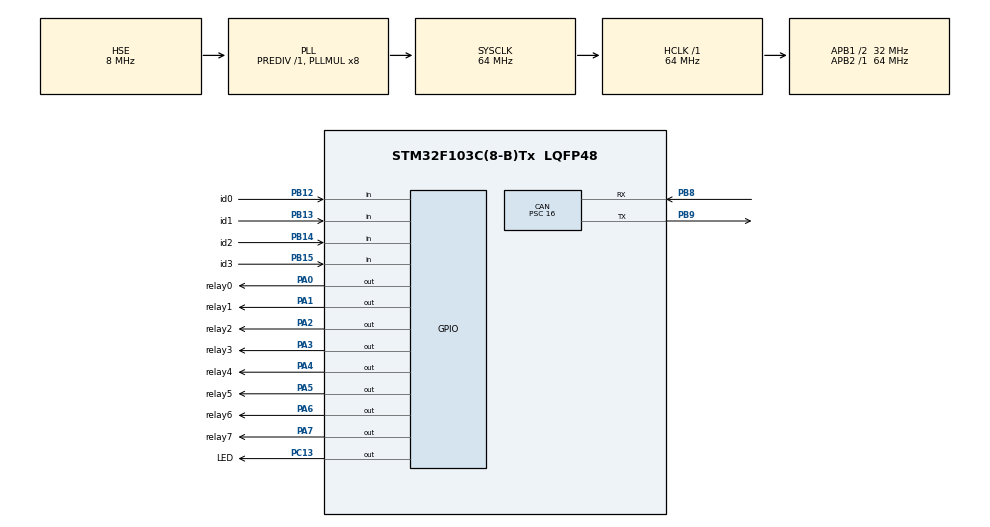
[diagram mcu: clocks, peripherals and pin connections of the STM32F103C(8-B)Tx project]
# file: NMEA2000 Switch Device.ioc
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CAN.BS1=CAN_BS1_5TQ
CAN.BS2=CAN_BS2_2TQ
CAN.CalculateBaudRate=250000
CAN.CalculateTimeBit=4000
CAN.CalculateTimeQuantum=500.0
CAN.Prescaler=16
Mcu.Family=STM32F1
Mcu.Name=STM32F103C(8-B)Tx
Mcu.Package=LQFP48
NVIC.CAN1_RX1_IRQn=true\:0\:0\:false\:false\:true\:true\:true\:true
NVIC.CAN1_SCE_IRQn=true\:0\:0\:false\:false\:true\:true\:true\:true
NVIC.PriorityGroup=NVIC_PRIORITYGROUP_4
NVIC.TIM3_IRQn=true\:0\:0\:false\:false\:true\:true\:true\:true
NVIC.USB_HP_CAN1_TX_IRQn=true\:0\:0\:false\:false\:true\:true\:true\:true
NVIC.USB_LP_CAN1_RX0_IRQn=true\:0\:0\:false\:false\:true\:true\:true\:true
PA0-WKUP.GPIO_Label=relay0
PA0-WKUP.GPIO_Speed=GPIO_SPEED_FREQ_HIGH
PA0-WKUP.Signal=GPIO_Output
PA1.GPIO_Label=relay1
PA1.GPIO_Speed=GPIO_SPEED_FREQ_HIGH
PA1.Signal=GPIO_Output
PA13.Mode=Serial_Wire
PA13.Signal=SYS_JTMS-SWDIO
PA14.Mode=Serial_Wire
PA14.Signal=SYS_JTCK-SWCLK
PA2.GPIO_Label=relay2
PA2.GPIO_Speed=GPIO_SPEED_FREQ_HIGH
PA2.Signal=GPIO_Output
PA3.GPIO_Label=relay3
PA3.GPIO_Speed=GPIO_SPEED_FREQ_HIGH
PA3.Signal=GPIO_Output
PA4.GPIO_Label=relay4
PA4.GPIO_Speed=GPIO_SPEED_FREQ_HIGH
PA4.Signal=GPIO_Output
PA5.GPIO_Label=relay5
PA5.GPIO_Speed=GPIO_SPEED_FREQ_HIGH
PA5.Signal=GPIO_Output
PA6.GPIO_Label=relay6
PA6.GPIO_Speed=GPIO_SPEED_FREQ_HIGH
PA6.Signal=GPIO_Output
PA7.GPIO_Label=relay7
PA7.GPIO_Speed=GPIO_SPEED_FREQ_HIGH
PA7.Signal=GPIO_Output
PB12.GPIO_Label=id0
PB12.GPIO_PuPd=GPIO_PULLDOWN
PB12.Signal=GPIO_Input
PB13.GPIO_Label=id1
PB13.GPIO_PuPd=GPIO_PULLDOWN
PB13.Signal=GPIO_Input
PB14.GPIO_Label=id2
PB14.GPIO_PuPd=GPIO_PULLDOWN
PB14.Signal=GPIO_Input
PB15.GPIO_Label=id3
PB15.GPIO_PuPd=GPIO_PULLDOWN
PB15.Signal=GPIO_Input
PB8.GPIO_PuPd=GPIO_PULLUP
PB8.Mode=CAN_Activate
PB8.Signal=CAN_RX
PB9.Mode=CAN_Activate
PB9.Signal=CAN_TX
PC13-TAMPER-RTC.GPIO_Label=LED
PC13-TAMPER-RTC.GPIO_ModeDefaultOutputPP=GPIO_MODE_OUTPUT_OD
PC13-TAMPER-RTC.GPIO_PuPd=GPIO_NOPULL
PC13-TAMPER-RTC.GPIO_Speed=GPIO_SPEED_FREQ_HIGH
PC13-TAMPER-RTC.Signal=GPIO_Output
PD0-OSC_IN.Mode=HSE-External-Oscillator
PD0-OSC_IN.Signal=RCC_OSC_IN
PD1-OSC_OUT.Mode=HSE-External-Oscillator
PD1-OSC_OUT.Signal=RCC_OSC_OUT
ProjectManager.HeapSize=0x200
ProjectManager.StackSize=0x400
ProjectManager.TargetToolchain=STM32CubeIDE
RCC.AHBFreq_Value=64000000
RCC.APB1CLKDivider=RCC_HCLK_DIV2
RCC.APB1Freq_Value=32000000
RCC.APB1TimFreq_Value=64000000
RCC.APB2Freq_Value=64000000
RCC.APB2TimFreq_Value=64000000
RCC.HCLKFreq_Value=64000000
RCC.PLLMUL=RCC_PLL_MUL8
RCC.PLLSourceVirtual=RCC_PLLSOURCE_HSE
RCC.SYSCLKFreq_VALUE=64000000
RCC.SYSCLKSource=RCC_SYSCLKSOURCE_PLLCLK
RCC.TimSys_Div=SYSTICK_CLKSOURCE_HCLK_DIV8
RCC.USBFreq_Value=64000000
TIM3.AutoReloadPreload=TIM_AUTORELOAD_PRELOAD_DISABLE
TIM3.CounterMode=TIM_COUNTERMODE_UP
TIM3.Period=9999
TIM3.Prescaler=6399
VP_TIM3_VS_ClockSourceINT.Mode=Internal
board=custom

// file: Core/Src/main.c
/* USER CODE BEGIN Header */
/**
  ******************************************************************************
  * @file           : main.c
  * @brief          : Main program body
  ******************************************************************************
  * NMEA2000 Relay Board Controller
  *
  * (CC) 2025 by G.J.Kruizinga
  *
  * @attention
  *
  * Copyright (c) 2025 STMicroelectronics.
  * All rights reserved.
  *
  * This software is licensed under terms that can be found in the LICENSE file
  * in the root directory of this software component.
  * If no LICENSE file comes with this software, it is provided AS-IS.
  *
  ******************************************************************************
  */
/* USER CODE END Header */
#include "main.h"

/* USER CODE BEGIN Includes */

#include <stdio.h>
/* USER CODE END Includes */

/* USER CODE BEGIN PTD */
// Bring relay port definitions to an array structure
struct RELAY_T {
	GPIO_TypeDef	*gpio;
	uint16_t		pin;
};

// NMEA2K network operational NAME parameters
struct NMEA2K_NETWORK_T {
	uint8_t			senderId;
	uint8_t			linkState;
	uint16_t		heartbeatTime;
	uint8_t			*nameData;
	uint8_t			linkRetries;
	uint16_t		statusTime;
};

struct ISO_TRANSPORT_MESSAGE_T {
	uint8_t			senderId;
	uint8_t			isoCommand;
	uint8_t			packetsExpected;
	uint8_t			packetsReceived;
	uint16_t		messageSize;
	uint32_t		pgn;
	uint8_t			*data;
	struct ISO_TRANSPORT_MESSAGE_T *prev;
	struct ISO_TRANSPORT_MESSAGE_T *next;
};

struct CAN_MSG_T {
	uint32_t		pgn;
	uint8_t			senderId;
	uint8_t			data[8];
};

struct TIMER_T {
	int 			type;
	int				timeout;
	int 			countdown;
	void 			(*callback)(void *);
	void 			*payload;
	struct 			TIMER_T *prev;
	struct 			TIMER_T *next;
};

// Queue type for jobs to be executed
struct JOB_QUEUE_T {
	void 			(*callback)(void *);
	void 			*payload;
	struct JOB_QUEUE_T	*next;
};

/* USER CODE END PTD */

/* USER CODE BEGIN PD */

#define NMEA2000_VERSION	3000	/* NMEA2000 Version 3.000 */

#define N2K_PRIO			3		/* Priority of the messages on the network */
#define N2K_ID				128		/* Initial NMEA2K sender id */
#define RELAY_BOARD_ID		128		/* Switch bank id (0-255), Only top 4 bits count, lower 4 are set with switches */
#define RELAY_CHANNELS		8		/* Number of relays on this board */

// Initial ISO NAME parameters
#define MFG_CODE			2046	/* Manufacturer code (0-2047) 2046 for homemade */
#define DEV_INST			0		/* Device instance */
#define DEV_FUNCT			130		/* Binary Event Monitor */
#define DEV_CLASS			30		/* Electrical Distribution */
#define SYS_INST			0		/* System instance */
#define IND_GROUP			4		/* Industry group = 4 (Marine Industry) */
#define ARB_ADDRESS			1		/* Arbitrary address capable */
#define ISO_MAX_RETRIES		8		/* Maximum number of address claim retries */
#define ISO_HEARTBEAT		2000	/* Heartbeat default interval = 20 sec (2000 * 10ms) */
#define STATUS_TIMER		200		/* Switch status default interval = 2 sec (200 * 10ms) */

// NMEA2K Link States
#define LINK_STATE_IDLE		0
#define LINK_STATE_CLAIMED	1
#define LINK_STATE_ACTIVE	2
#define LINK_STATE_ABORT	99

#define TIMER_ONESHOT		1
#define TIMER_RELOAD		2

#define MODEL_ID			"GJK NMEA2000 Relay Controller"
#define SOFTWARE_VERSION	"V 1.0"
#define HARDWARE_VERSION	"V 1.0"

/* USER CODE END PD */

CAN_HandleTypeDef hcan;

TIM_HandleTypeDef htim3;

/* USER CODE BEGIN PV */
volatile uint16_t relayStatus;
uint8_t relayId;
struct RELAY_T relays[RELAY_CHANNELS] = {
		{relay0_GPIO_Port, relay0_Pin},
		{relay1_GPIO_Port, relay1_Pin},
		{relay2_GPIO_Port, relay2_Pin},
		{relay3_GPIO_Port, relay3_Pin},
		{relay4_GPIO_Port, relay4_Pin},
		{relay5_GPIO_Port, relay5_Pin},
		{relay6_GPIO_Port, relay6_Pin},
		{relay7_GPIO_Port, relay7_Pin}
};
struct NMEA2K_NETWORK_T nmea2kNetwork;
struct TIMER_T *timers = NULL, *statusTimer;
struct JOB_QUEUE_T *jobs = NULL;

// List of transmitted and received PGN's capable by this device
uint32_t txList[] = {59392, 60928, 126996, 126998, 127501, 126993, 126464, 0};
uint32_t rxList[] = {59904, 60928, 60160, 60416, 65240, 127502, 0};
uint32_t * pgnList[] = {txList, rxList};

// Static strings for PGN 126996 and 126998
char productInformation[128];
char manufacturerInformation[] = "(CC) 2025 by G.J.Kruizinga - gjk4all(at)gmail(dot)com";

/* USER CODE END PV */

void SystemClock_Config(void);
static void MX_GPIO_Init(void);
static void MX_CAN_Init(void);
static void MX_TIM3_Init(void);
/* USER CODE BEGIN PFP */
void Send_ISOAddressClaim(void);
void Send_ISOAcknowledgement(uint8_t dest, uint8_t control, uint8_t group, uint32_t pgn);
void Send_HeartBeat(void * payload);
void Send_Status(void * payload);
void Send_ProductInformation(void * payload);
void Send_ConfigurationInformation(void * payload);
void Send_PGNList(void * payload);
int Send_FFMessage(CAN_TxHeaderTypeDef *TxHeader, uint8_t *data, int seqNo, int len);
void Handle_ISOTransportMessages(void *payload);
void Handle_ISOCommandedAddress(uint8_t *data);
int Compare_NameWeight(uint8_t *data);
void Set_Relays(uint8_t *data);
struct TIMER_T * Add_Timer(int type, int timeout, void(*callback)(), void * payload);
void Delete_Timer(struct TIMER_T *timer);
struct JOB_QUEUE_T * Add_Job(void(*callback)(), void * payload);
void Delete_Job(struct JOB_QUEUE_T *job);
int Get_RelayBoardId(void);
void Error_Handler(void);
/* USER CODE END PFP */

int main(void)
{

	/* USER CODE BEGIN 1 */

	// Clear all relays
	relayStatus = 0;

	// Initialize Product Information record
	for (int i = 0; i < 128; i++)
		productInformation[i] = 0xFF;

	sprintf(productInformation, "%s", MODEL_ID);
	sprintf(productInformation + 32, "%s", SOFTWARE_VERSION);
	sprintf(productInformation + 64, "%s", HARDWARE_VERSION);
	sprintf(productInformation + 96, "%lu", (HAL_GetUIDw0() ^ HAL_GetUIDw1() ^ HAL_GetUIDw2()));

	// Initialise the data array with the ISO NAME info
	uint8_t nameData[8];

	*(uint32_t *)nameData = (MFG_CODE << 21) | ((HAL_GetUIDw0() ^ HAL_GetUIDw1() ^ HAL_GetUIDw2()) & 0x1FFFFF);
	nameData[4] = DEV_INST;
	nameData[5] = DEV_FUNCT;
	nameData[6] = (DEV_CLASS << 1) | 1;
	nameData[7] = ((ARB_ADDRESS == 0)?0:0x80) | ((IND_GROUP << 4) & 0x70) | ((SYS_INST) & 0x0F);

	// Populate initial N2K network structure
	nmea2kNetwork.senderId = N2K_ID;
	nmea2kNetwork.linkState = LINK_STATE_IDLE;
	nmea2kNetwork.heartbeatTime = ISO_HEARTBEAT;
	nmea2kNetwork.nameData = nameData;
	nmea2kNetwork.linkRetries = 0;
	nmea2kNetwork.statusTime = STATUS_TIMER;

  /* USER CODE END 1 */

  /* MCU Configuration--------------------------------------------------------*/

  /* Reset of all peripherals, Initializes the Flash interface and the Systick. */
  HAL_Init();

  /* Configure the system clock */
  SystemClock_Config();

  /* Initialize all configured peripherals */
  MX_GPIO_Init();
  MX_CAN_Init();
  MX_TIM3_Init();
  /* USER CODE BEGIN 2 */

  // Initialize continues timers
  HAL_TIM_Base_Stop_IT(&htim3);

  // Heartbeat timer
  if (Add_Timer(TIMER_RELOAD, nmea2kNetwork.heartbeatTime, &Send_HeartBeat, NULL) == NULL) {
	  Error_Handler();
  }
  // Binary switch status timer
  if ((statusTimer = Add_Timer(TIMER_RELOAD, nmea2kNetwork.statusTime, &Send_Status, NULL)) == NULL) {
	  Error_Handler();
  }

  // Get the relay board channel id
  relayId = Get_RelayBoardId();

  /* USER CODE END 2 */

  /* Infinite loop */
  while (1)
  {

    /* USER CODE BEGIN 3 */
	  // If the NMEA2K link is idle, try to (re)activate it
	  if (nmea2kNetwork.linkState == LINK_STATE_IDLE) {
		  // Stop the seconds timer
		  HAL_TIM_Base_Stop_IT(&htim3);
		  // Check the retry counter against max retries
		  if (nmea2kNetwork.linkRetries > ISO_MAX_RETRIES) {
			  // ERROR, no valid address
			  nmea2kNetwork.linkState = LINK_STATE_ABORT;
			  Error_Handler();
		  }
		  // Try a PGN 60928 - ISO Address Claim
		  Send_ISOAddressClaim();
		  // Set link state to CLAIMED
		  nmea2kNetwork.linkState = LINK_STATE_CLAIMED;
		  // Wait for 250 ms for the claim
		  HAL_Delay(250);
		  // Check if the claim is still valid
		  if (nmea2kNetwork.linkState == LINK_STATE_CLAIMED) {
			  // Claim is valid, activate network
			  nmea2kNetwork.linkState = LINK_STATE_ACTIVE;
			  // Clear the retry counter
			  nmea2kNetwork.linkRetries = 0;
			  // (re)start the seconds timer
			  HAL_TIM_Base_Start_IT(&htim3);
		  }
	  }

		// If the link is up, do the switch polling
		if (nmea2kNetwork.linkState == LINK_STATE_ACTIVE) {
			// Run job queue
			while (jobs != NULL) {
				(jobs->callback)(jobs->payload);
				Delete_Job(jobs);
			}
	  }
  }
  /* USER CODE END 3 */
}

void SystemClock_Config(void)
{
  RCC_OscInitTypeDef RCC_OscInitStruct = {0};
  RCC_ClkInitTypeDef RCC_ClkInitStruct = {0};

  /** Initializes the RCC Oscillators according to the specified parameters
  * in the RCC_OscInitTypeDef structure.
  */
  RCC_OscInitStruct.OscillatorType = RCC_OSCILLATORTYPE_HSE;
  RCC_OscInitStruct.HSEState = RCC_HSE_ON;
  RCC_OscInitStruct.HSEPredivValue = RCC_HSE_PREDIV_DIV1;
  RCC_OscInitStruct.HSIState = RCC_HSI_ON;
  RCC_OscInitStruct.PLL.PLLState = RCC_PLL_ON;
  RCC_OscInitStruct.PLL.PLLSource = RCC_PLLSOURCE_HSE;
  RCC_OscInitStruct.PLL.PLLMUL = RCC_PLL_MUL8;
  if (HAL_RCC_OscConfig(&RCC_OscInitStruct) != HAL_OK)
  {
    Error_Handler();
  }

  /** Initializes the CPU, AHB and APB buses clocks
  */
  RCC_ClkInitStruct.ClockType = RCC_CLOCKTYPE_HCLK|RCC_CLOCKTYPE_SYSCLK
                              |RCC_CLOCKTYPE_PCLK1|RCC_CLOCKTYPE_PCLK2;
  RCC_ClkInitStruct.SYSCLKSource = RCC_SYSCLKSOURCE_PLLCLK;
  RCC_ClkInitStruct.AHBCLKDivider = RCC_SYSCLK_DIV1;
  RCC_ClkInitStruct.APB1CLKDivider = RCC_HCLK_DIV2;
  RCC_ClkInitStruct.APB2CLKDivider = RCC_HCLK_DIV1;

  if (HAL_RCC_ClockConfig(&RCC_ClkInitStruct, FLASH_LATENCY_2) != HAL_OK)
  {
    Error_Handler();
  }
}

static void MX_CAN_Init(void)
{

  /* USER CODE BEGIN CAN_Init 0 */
  CAN_FilterTypeDef   sFilterN2K127502, sFilterN2K060928;

  /* USER CODE END CAN_Init 0 */

  hcan.Instance = CAN1;
  hcan.Init.Prescaler = 16;
  hcan.Init.Mode = CAN_MODE_NORMAL;
  hcan.Init.SyncJumpWidth = CAN_SJW_1TQ;
  hcan.Init.TimeSeg1 = CAN_BS1_5TQ;
  hcan.Init.TimeSeg2 = CAN_BS2_2TQ;
  hcan.Init.TimeTriggeredMode = DISABLE;
  hcan.Init.AutoBusOff = DISABLE;
  hcan.Init.AutoWakeUp = DISABLE;
  hcan.Init.AutoRetransmission = ENABLE;
  hcan.Init.ReceiveFifoLocked = DISABLE;
  hcan.Init.TransmitFifoPriority = DISABLE;
  if (HAL_CAN_Init(&hcan) != HAL_OK)
  {
    Error_Handler();
  }
  /* USER CODE BEGIN CAN_Init 2 */
  // Filter for Switch Bank Control messages
  uint32_t can_id = 127502 << 8;

  sFilterN2K127502.FilterBank = 1;
  sFilterN2K127502.FilterMode = CAN_FILTERMODE_IDMASK;
  sFilterN2K127502.FilterScale = CAN_FILTERSCALE_32BIT;
  sFilterN2K127502.FilterIdHigh = (can_id >> 13) & 0xFFFF;
  sFilterN2K127502.FilterIdLow = ((can_id << 3) & 0xFFF8) | 4;
  sFilterN2K127502.FilterMaskIdHigh = 0x0FFF;
  sFilterN2K127502.FilterMaskIdLow = 0xF804;
  sFilterN2K127502.FilterFIFOAssignment = CAN_FILTER_FIFO1;
  sFilterN2K127502.FilterActivation = CAN_FILTER_ENABLE;

  HAL_CAN_ConfigFilter(&hcan, &sFilterN2K127502);

  // Filter for ISO messages
  can_id = 0x0E800 << 8;

  sFilterN2K060928.FilterBank = 2;
  sFilterN2K060928.FilterMode = CAN_FILTERMODE_IDMASK;
  sFilterN2K060928.FilterScale = CAN_FILTERSCALE_32BIT;
  sFilterN2K060928.FilterIdHigh = (can_id >> 13) & 0xFFFF;
  sFilterN2K060928.FilterIdLow = ((can_id << 3) & 0xFFF8) | 4;
  sFilterN2K060928.FilterMaskIdHigh = 0x0FC0;
  sFilterN2K060928.FilterMaskIdLow = 0x0004;
  sFilterN2K060928.FilterFIFOAssignment = CAN_FILTER_FIFO1;
  sFilterN2K060928.FilterActivation = CAN_FILTER_ENABLE;

  HAL_CAN_ConfigFilter(&hcan, &sFilterN2K060928);

  // Start CAN bus
  HAL_CAN_Start(&hcan);
  // Enable RX interrupts
  if (HAL_CAN_ActivateNotification(&hcan, CAN_IT_RX_FIFO1_MSG_PENDING) != HAL_OK) {
	  Error_Handler();
  }
  /* USER CODE END CAN_Init 2 */

}

static void MX_TIM3_Init(void)
{

  TIM_ClockConfigTypeDef sClockSourceConfig = {0};
  TIM_MasterConfigTypeDef sMasterConfig = {0};

  htim3.Instance = TIM3;
  htim3.Init.Prescaler = 6399;
  htim3.Init.CounterMode = TIM_COUNTERMODE_UP;
  htim3.Init.Period = 99;
  htim3.Init.ClockDivision = TIM_CLOCKDIVISION_DIV1;
  htim3.Init.AutoReloadPreload = TIM_AUTORELOAD_PRELOAD_DISABLE;
  if (HAL_TIM_Base_Init(&htim3) != HAL_OK)
  {
    Error_Handler();
  }
  sClockSourceConfig.ClockSource = TIM_CLOCKSOURCE_INTERNAL;
  if (HAL_TIM_ConfigClockSource(&htim3, &sClockSourceConfig) != HAL_OK)
  {
    Error_Handler();
  }
  sMasterConfig.MasterOutputTrigger = TIM_TRGO_RESET;
  sMasterConfig.MasterSlaveMode = TIM_MASTERSLAVEMODE_DISABLE;
  if (HAL_TIMEx_MasterConfigSynchronization(&htim3, &sMasterConfig) != HAL_OK)
  {
    Error_Handler();
  }

}

static void MX_GPIO_Init(void)
{
  GPIO_InitTypeDef GPIO_InitStruct = {0};

  /* GPIO Ports Clock Enable */
  __HAL_RCC_GPIOC_CLK_ENABLE();
  __HAL_RCC_GPIOD_CLK_ENABLE();
  __HAL_RCC_GPIOA_CLK_ENABLE();
  __HAL_RCC_GPIOB_CLK_ENABLE();

  /*Configure GPIO pin Output Level */
  HAL_GPIO_WritePin(LED_GPIO_Port, LED_Pin, GPIO_PIN_SET);

  /*Configure GPIO pin Output Level */
  HAL_GPIO_WritePin(GPIOA, relay0_Pin|relay1_Pin|relay2_Pin|relay3_Pin
                          |relay4_Pin|relay5_Pin|relay6_Pin|relay7_Pin, GPIO_PIN_RESET);

  /*Configure GPIO pin : LED_Pin */
  GPIO_InitStruct.Pin = LED_Pin;
  GPIO_InitStruct.Mode = GPIO_MODE_OUTPUT_OD;
  GPIO_InitStruct.Pull = GPIO_NOPULL;
  GPIO_InitStruct.Speed = GPIO_SPEED_FREQ_HIGH;
  HAL_GPIO_Init(LED_GPIO_Port, &GPIO_InitStruct);

  /*Configure GPIO pins : relay0_Pin relay1_Pin relay2_Pin relay3_Pin
                           relay4_Pin relay5_Pin relay6_Pin relay7_Pin */
  GPIO_InitStruct.Pin = relay0_Pin|relay1_Pin|relay2_Pin|relay3_Pin
                          |relay4_Pin|relay5_Pin|relay6_Pin|relay7_Pin;
  GPIO_InitStruct.Mode = GPIO_MODE_OUTPUT_PP;
  GPIO_InitStruct.Pull = GPIO_NOPULL;
  GPIO_InitStruct.Speed = GPIO_SPEED_FREQ_HIGH;
  HAL_GPIO_Init(GPIOA, &GPIO_InitStruct);

  /*Configure GPIO pins : id0_Pin id1_Pin id2_Pin id3_Pin */
  GPIO_InitStruct.Pin = id0_Pin|id1_Pin|id2_Pin|id3_Pin;
  GPIO_InitStruct.Mode = GPIO_MODE_INPUT;
  GPIO_InitStruct.Pull = GPIO_PULLDOWN;
  HAL_GPIO_Init(GPIOB, &GPIO_InitStruct);

}

/* USER CODE BEGIN 4 */

/******************************************************************************
 * HAL_TIM_PeriodElapsedCallback
 *
 * HAL function periodicly called by the TIM3 timer
 * Check timers every 10 ms
 *
 *****************************************************************************/
void HAL_TIM_PeriodElapsedCallback (TIM_HandleTypeDef *htim)
{
	struct TIMER_T *current, *temp;

	__HAL_TIM_CLEAR_IT(htim, TIM_IT_UPDATE);

	current = timers;
	while (current != NULL) {
		if (current->countdown != 0) {
			current->countdown -= 1;
			current = current->next;
		}
		else {
			// Submit timer job to the job queue
 			Add_Job(current->callback, current->payload);

			if (current->type == TIMER_RELOAD) {
				current->countdown = current->timeout;
				current = current->next;
			}
			else if (current->type == TIMER_ONESHOT) {
				temp = current;
				current = current->next;
				Delete_Timer(temp);
			}
		}
	}
}

/******************************************************************************
 * HAL_CAN_RxFifo1MsgPendingCallback
 *
 * HAL function called when a CAN message is received through the filters
 * Determines which action must be taken as a reaction
 *
 *****************************************************************************/
void HAL_CAN_RxFifo1MsgPendingCallback(CAN_HandleTypeDef *hcan)
{
	CAN_RxHeaderTypeDef	RxHeader;
	uint8_t				RxData[8];
	uint32_t			N2KPgn;
	uint8_t				senderId;

	// RX control LED
	HAL_GPIO_WritePin(LED_GPIO_Port, LED_Pin, GPIO_PIN_RESET);

	// Get the message from the FIFO
	if (HAL_CAN_GetRxMessage(hcan, CAN_RX_FIFO1, &RxHeader, RxData) != HAL_OK) {
		Error_Handler();
	}

	// Get the NMEA2000 PGN and the sender id from the extended CAN id
	N2KPgn = (RxHeader.ExtId >> 8) & 0x01FFFF;
	senderId = RxHeader.ExtId & 0xFF;

	// Check for Switch Bank Control message addressed to our channelID
	if ((N2KPgn == 127502) && (RxData[0] == relayId)) {
		// Set the relays and send a new status message
		Set_Relays(RxData);
		statusTimer->countdown = 1;
	}

	// Check for ISO Address Claim message with our senderId
	if (((N2KPgn & 0x1FF00) == 0x0EE00) && (senderId == nmea2kNetwork.senderId)) {
		// If we are waiting for the claimed address, address is in use, send a new claim
		if (nmea2kNetwork.linkState == LINK_STATE_CLAIMED) {
			nmea2kNetwork.linkState = LINK_STATE_IDLE;
			nmea2kNetwork.linkRetries += 1;
			nmea2kNetwork.senderId += nmea2kNetwork.linkRetries;
		}
		// If our address is already active, check a couple of things
		if (nmea2kNetwork.linkState == LINK_STATE_ACTIVE) {
			// If the other contender can't change his senderID or has a higher NAME score, we change our senderID
			if (Compare_NameWeight(RxData)) {
				Send_ISOAddressClaim();
			}
			else {
				nmea2kNetwork.linkState = LINK_STATE_IDLE;
				nmea2kNetwork.linkRetries += 1;
				nmea2kNetwork.senderId += nmea2kNetwork.linkRetries;
			}
		}
	}

	struct CAN_MSG_T *msg;

	// Check for ISO Request to our senderId or broadcast id
	if (((N2KPgn & 0x1FF00) == 0x0EA00) && (((N2KPgn & 0xFF) == nmea2kNetwork.senderId) || ((N2KPgn & 0xFF) == 0xFF))) {
		if ((msg = malloc(sizeof(struct CAN_MSG_T))) == NULL) {
			Error_Handler();
		}

		msg->pgn = *(uint32_t *)RxData & 0x00FFFFFF;
		msg->senderId = senderId;

		// Check for a ISO Address Claim request
		if (msg->pgn == 0x00EE00) {
			Add_Job(&Send_ISOAddressClaim, msg);
		}

		// Check for a Product Information request
		if (msg->pgn == 0x01F014) {
			Add_Job(&Send_ProductInformation, msg);
		}

		// Check for a Configuration Information request
		if (msg->pgn == 0x01F016) {
			Add_Job(&Send_ConfigurationInformation, msg);
		}

		// Check for a PGN List request
		if (msg->pgn == 0x01EE00) {
			Add_Job(&Send_PGNList, msg);
		}

		// Check for a Binary Switch Bank Status request
		if (msg->pgn == 0x01F20D) {
			Add_Job(&Send_Status, msg);
		}
	}

	// Check for ISO Transport Protocol messages
	if (((N2KPgn & 0x1FF00) == 0x0EC00) || ((N2KPgn & 0x1FF00) == 0x0EB00)) {
		if ((msg = malloc(sizeof(struct CAN_MSG_T))) == NULL) {
			Error_Handler();
		}

		msg->pgn = N2KPgn;
		msg->senderId = senderId;
		memcpy(msg->data, RxData, RxHeader.DLC);

		Add_Job(&Handle_ISOTransportMessages, msg);
	}

	// RX control LED
	HAL_GPIO_WritePin(LED_GPIO_Port, LED_Pin, GPIO_PIN_SET);
}

/******************************************************************************
 * Send_ISOAddressClaim
 *
 * Send a ISO Address Claim message to claim our sender ID
 *
 *****************************************************************************/
void Send_ISOAddressClaim() {
	CAN_TxHeaderTypeDef	TxHeader;
	uint32_t			TxMailbox = CAN_TX_MAILBOX0;
	uint32_t			N2KId;

	// Initialise the CAN header with the NMEA2K info
	// Can ID = PRIO(3) - 0 - PGN(17) - Sender ID(8)
	N2KId = (6 << 26) | (0x0EEFF << 8) | nmea2kNetwork.senderId;
	TxHeader.ExtId = N2KId;
	TxHeader.IDE = CAN_ID_EXT;
	TxHeader.RTR = CAN_RTR_DATA;
	TxHeader.DLC = 8;
	TxHeader.TransmitGlobalTime = DISABLE;

	// Send the NMEA 60928 ISO Address Claim message
	if (HAL_CAN_AddTxMessage(&hcan, &TxHeader, nmea2kNetwork.nameData, &TxMailbox) != HAL_OK) {
		Error_Handler();
	}

}

/******************************************************************************
 * Send_ISOAcknowledgement
 *
 * Send a ISO Acknowledgement message
 *
 * Parameters:
 * - dest		Destination address
 * - control	Acknowledgement type
 * - group		Group ID
 * - pgn		PGN to acknowledge
 *
 *****************************************************************************/
void Send_ISOAcknowledgement(uint8_t dest, uint8_t control, uint8_t group, uint32_t pgn) {
	CAN_TxHeaderTypeDef	TxHeader;
	uint32_t			TxMailbox = CAN_TX_MAILBOX0;
	uint32_t			N2KId;

	// Initialise the CAN header with the NMEA2K info
	// Can ID = PRIO(3) - 0 - PGN(17) - Sender ID(8)
	N2KId = (6 << 26) | (0x0E800 << 8) | (dest << 8) | nmea2kNetwork.senderId;
	TxHeader.ExtId = N2KId;
	TxHeader.IDE = CAN_ID_EXT;
	TxHeader.RTR = CAN_RTR_DATA;
	TxHeader.DLC = 8;
	TxHeader.TransmitGlobalTime = DISABLE;

	// Initialise the data array with the ISO NAME info
	uint8_t TxData[] = {control, group, 0xFF, 0xFF, 0xFF, (pgn & 0xFF), ((pgn >> 8) & 0xFF), ((pgn >> 16) & 0xFF)};

	// Send the NMEA 60928 ISO Address Claim message
	if (HAL_CAN_AddTxMessage(&hcan, &TxHeader, TxData, &TxMailbox) != HAL_OK) {
		Error_Handler();
	}

}

/******************************************************************************
 * Send_HeartBeat
 *
 * Send a NMEA2000 Heartbeat message to the network
 *
 *****************************************************************************/
void Send_HeartBeat(void * payload) {
	static int			sequence = 0;
	CAN_TxHeaderTypeDef	TxHeader;
	uint32_t			TxMailbox = CAN_TX_MAILBOX1;
	uint32_t			N2KId;

	// Initialise the CAN header with the NMEA2K info
	// Can ID = PRIO(3) - 0 - PGN(17) - Sender ID(8)
	N2KId = (6 << 26) | (0x1F011 << 8) | nmea2kNetwork.senderId;
	TxHeader.ExtId = N2KId;
	TxHeader.IDE = CAN_ID_EXT;
	TxHeader.RTR = CAN_RTR_DATA;
	TxHeader.DLC = 8;
	TxHeader.TransmitGlobalTime = DISABLE;

	// Initialise the data array with the ISO NAME info
	uint8_t TxData[8];

	*((uint16_t *)TxData) = nmea2kNetwork.heartbeatTime;
	TxData[2] = sequence++;
	TxData[3] = 0b11001101;
	*((uint32_t *)(TxData + 4)) = 0xFFFFFFFF;

	if (sequence > 252)
		sequence = 0;

	// Send the NMEA 60928 ISO Address Claim message
	if (HAL_CAN_AddTxMessage(&hcan, &TxHeader, TxData, &TxMailbox) != HAL_OK) {
		Error_Handler();
	}

	free(payload);
}

/******************************************************************************
 * Send_Status
 *
 * Send a NMEA2000 Binary Switch Bank Status to report the actual relay
 * settings. This report will be send periodicly or after a NMEA2000 Switch
 * Bank Control message
 *
 *****************************************************************************/
void Send_Status(void * payload)
{
	CAN_TxHeaderTypeDef	TxHeader;
	uint32_t			TxMailbox = CAN_TX_MAILBOX1;
	uint32_t			N2KId;
	int 				offset, index;

	// Initialize the CAN header with the NMEA2K info
	// Can ID = PRIO(3) - 0 - PGN(17) - Sender ID(8)
	N2KId = (3 << 26) | (127501 << 8) | nmea2kNetwork.senderId;
	TxHeader.ExtId = N2KId;
	TxHeader.IDE = CAN_ID_EXT;
	TxHeader.RTR = CAN_RTR_DATA;
	TxHeader.DLC = 8;
	TxHeader.TransmitGlobalTime = DISABLE;

	// Initialize the status array with the relay instance id
	uint8_t TxData[] = {relayId, 0xFF, 0xFF, 0xFF, 0xFF, 0xFF, 0xFF, 0xFF};

	// Fill the status array according to PGN 127501
	for (int i = 0; i < RELAY_CHANNELS; i++) {
		offset = 2 * (i % 4);
		index = 1 + (i / 4);
		if ((relayStatus & (1 << i)) != 0) {
			TxData[index] &= ~(0b10 << offset);
		}
		else {
			TxData[index] &= ~(0b11 << offset);
		}
	}

	// Send the NMEA 127501 Binary Switch Bank Status message
 	if (HAL_CAN_AddTxMessage(&hcan, &TxHeader, TxData, &TxMailbox) != HAL_OK) {
		Error_Handler();
	}

	free(payload);
}

/******************************************************************************
 * Send_ProductInformation
 *
 * Send a PGN 126996 Product Information message when requested throug a
 * PGN 59904 - ISO Request message.
 *
 * Parameters:
 *  - *payload		NULL pointer
 *
 *****************************************************************************/
void Send_ProductInformation(void * payload) {
	CAN_TxHeaderTypeDef	TxHeader;
	uint32_t			N2KId;
	uint8_t				*data;

	// Initialise the CAN header with the NMEA2K info
	// Can ID = PRIO(3) - 0 - PGN(17) - Sender ID(8)
	N2KId = (6 << 26) | (0x1F014 << 8) | nmea2kNetwork.senderId;
	TxHeader.ExtId = N2KId;
	TxHeader.IDE = CAN_ID_EXT;
	TxHeader.RTR = CAN_RTR_DATA;
	TxHeader.DLC = 8;
	TxHeader.TransmitGlobalTime = DISABLE;

	// Allocate data structure
	if ((data = malloc(134 * sizeof(uint8_t))) == NULL) {
		Error_Handler();
	}

	// Populate data structure
	*(uint16_t *)data = 3000;					// NMEA2000 v3.000
	*(uint16_t *)(data + 2) = 101;				// Model number 1.01
	memcpy(data + 4, productInformation, 128);	// 128 bytes of product information
	*(data + 132) = 0xFF;						// No official NMEA2000 certification
	*(data + 133) = 4;							// Guaranteed max load = 4 * 50mA = 200mA

	// Send as Fast Frame message
	Send_FFMessage(&TxHeader, data, 0, 134);

	free(data);
	free(payload);
}

/******************************************************************************
 * Send_ConfigurationInformation
 *
 * Send a PGN 126998 Configuration Information message when requested throug a
 * PGN 59904 - ISO Request message.
 *
 * Parameters:
 *  - *payload		NULL pointer
 *
 *****************************************************************************/
void Send_ConfigurationInformation(void * payload) {
	CAN_TxHeaderTypeDef	TxHeader;
	uint32_t			N2KId;
	uint8_t				*data;

	// Initialise the CAN header with the NMEA2K info
	// Can ID = PRIO(3) - 0 - PGN(17) - Sender ID(8)
	N2KId = (6 << 26) | (0x1F016 << 8) | nmea2kNetwork.senderId;
	TxHeader.ExtId = N2KId;
	TxHeader.IDE = CAN_ID_EXT;
	TxHeader.RTR = CAN_RTR_DATA;
	TxHeader.DLC = 8;
	TxHeader.TransmitGlobalTime = DISABLE;

	int mfgStrLength = 2 + strlen(manufacturerInformation);
	int length = 4 + mfgStrLength;

	// Allocate data structure
	if ((data = malloc(length * sizeof(uint8_t))) == NULL) {
		Error_Handler();
	}

	// Populate data structure
	data[0] = 2;
	data[1] = 1;
	data[2] = 2;
	data[3] = 1;
	data[4] = mfgStrLength;
	data[5] = 1;
	memcpy(data + 6, manufacturerInformation, strlen(manufacturerInformation));

	// Send as Fast Frame message
	Send_FFMessage(&TxHeader, data, 0, length);

	free(data);
	free(payload);
}

/******************************************************************************
 * Send_PGNList
 *
 * Sends a  PGN 126464 PGN List for TX and RX messages when requested throug a
 * PGN 59904 - ISO Request message.
 *
 * Parameters:
 *  - *payload		NULL pointer
 *
 *****************************************************************************/
void Send_PGNList(void * payload) {
	CAN_TxHeaderTypeDef	TxHeader;
	uint32_t			N2KId;
	uint8_t				*data;
	int 				length;

	// Initialise the CAN header with the NMEA2K info
	// Can ID = PRIO(3) - 0 - PGN(17) - Sender ID(8)
	N2KId = (6 << 26) | (0x1EE00 << 8) | nmea2kNetwork.senderId;
	TxHeader.ExtId = N2KId;
	TxHeader.IDE = CAN_ID_EXT;
	TxHeader.RTR = CAN_RTR_DATA;
	TxHeader.DLC = 8;
	TxHeader.TransmitGlobalTime = DISABLE;

	for (int i = 0; i < 2; i++) {
		for (length = 0; pgnList[i][length] != 0; length++);

		// Allocate data structure
		if ((data = malloc(1 + (length * 3))) == NULL) {
			Error_Handler();
		}

		// Populate data structure
		data[0] = (uint8_t)i;
		for (int j = 0; j < length; j++) {
			memcpy(data + 1 + (j * 3), &pgnList[i][j], 3);
		}

		Send_FFMessage(&TxHeader, data, 0, 1 + (length * 3));
		free(data);
	}

	free(payload);
}

/******************************************************************************
 * Send_FFMessage
 *
 * Sends NMEA2000 Fast Frame messages for the given data structure.
 *
 * Parameters:
 *  - *TxHeader		Pointer to the CAN_TxHeader for the messages
 *  - *data			Pointer to the data structure
 *  - seqNo			Sequence number for the FF messages
 *  - len			Length of the data structure to send
 *
 *****************************************************************************/
int Send_FFMessage(CAN_TxHeaderTypeDef *TxHeader, uint8_t *data, int seqNo, int len) {
	uint32_t TxMailbox = CAN_TX_MAILBOX0;
	int offset = 0, frameCounter = 0;
	uint8_t TxData[8];

	// Check validity of len parameter
	if (len > 223)
		return frameCounter;

	// Frame length is always 8 data bytes
	TxHeader->DLC = 8;

	// Fill TxData for first package
	TxData[0] = (seqNo << 5) | (frameCounter++ & 0x1F);
	TxData[1] = len & 0xFF;
	memcpy(&TxData[2], data, ((len - offset) < 6)?(len - offset):6);

	// Pad till 8 bytes
	for (int i = (len - offset) + 2; i < 8; i++) {
		TxData[i] = 0xFF;
	}

	offset += ((len - offset) < 6)?(len - offset):6;

	// Send the NMEA2000 FF Frame
	if (HAL_CAN_AddTxMessage(&hcan, TxHeader, TxData, &TxMailbox) != HAL_OK) {
		Error_Handler();
	}

	while (offset < len) {
		// Delay for 1 ms to prevent buffer flooding (non critical)
		HAL_Delay(10);

		// Fill TxData for additional packages
		TxData[0] = (seqNo << 5) | (frameCounter++ & 0x1F);
		memcpy(&TxData[1], data + offset, ((len - offset) < 7)?(len - offset):7);

		// Pad till 8 bytes
		for (int i = (len - offset) + 1; i < 8; i++) {
			TxData[i] = 0xFF;
		}

		offset += ((len - offset) < 7)?(len - offset):7;

		// Send the NMEA2000 FF Frame
		if (HAL_CAN_AddTxMessage(&hcan, TxHeader, TxData, &TxMailbox) != HAL_OK) {
			Error_Handler();
		}
	}

	// Return number of frames send
	return frameCounter;
}

/******************************************************************************
 * Handle_ISOTransportMessages
 *
 * Handler for incoming PGN 60416 ISO Transport Protocol CM and PGN 60160 ISO
 * Transport Protocol DT messages, used for PGN 65240 ISO Commanded Address
 * messages
 *
 * Parameters:
 *  - *payload		Pointer to an ISO_TRANSPORT_MESSAGE_T structure
 *
 *****************************************************************************/
void Handle_ISOTransportMessages(void *payload) {
	struct CAN_MSG_T *msg = payload;
	static struct ISO_TRANSPORT_MESSAGE_T *msgList = NULL;
	struct ISO_TRANSPORT_MESSAGE_T *currentMsg, *newMsg;
	int offset, byteCount;

	// BAM announcement
	if (((msg->pgn & 0x1FF00) == 0x0EC00) && (msg->data[0] == 0x20)) {
		// Find the last message to insert after
		if ((currentMsg = msgList) != NULL) {
			while (currentMsg->next != NULL)
				currentMsg = currentMsg->next;
		}

		// Create the new message structure
		if ((newMsg = malloc(sizeof(struct ISO_TRANSPORT_MESSAGE_T))) == NULL) {
			Error_Handler();
		}

		// Fill the structure
		newMsg->senderId = msg->senderId;
		newMsg->isoCommand = msg->data[0];
		newMsg->packetsExpected = msg->data[3];
		newMsg->packetsReceived = 0;
		newMsg->messageSize = *((uint16_t *)(msg->data + 1));
		newMsg->pgn = (*((uint32_t *)(msg->data + 4)) >> 8);
		newMsg->prev = currentMsg;
		newMsg->next = NULL;

		// Create the data structure
		if ((newMsg->data = malloc(newMsg->messageSize * sizeof(uint8_t))) == NULL) {
			Error_Handler();
		}

		// Link newMsg in the list
		if (currentMsg == NULL) {
			msgList = newMsg;
		}
		else {
			currentMsg->prev = newMsg;
		}
	}

	// Data package
	if ((msg->pgn & 0x1FF00) == 0x0EB00) {
		currentMsg = msgList;
		// Find the right message
		while(currentMsg != NULL) {
			if (currentMsg->senderId == msg->senderId) {
				offset = (msg->data[0] - 1) * 7;
				if ((byteCount = currentMsg->messageSize - ((msg->data[0] - 1) * 7)) > 7)
					byteCount = 7;
				memcpy(currentMsg->data + offset, msg->data + 1, byteCount);
				currentMsg->packetsReceived += 1;

				// Check if message is complete
				if (currentMsg->packetsReceived == currentMsg->packetsExpected) {
					// Check for ISO Commanded Address
					if (currentMsg->pgn == 65240)
						Handle_ISOCommandedAddress(currentMsg->data);

					// Cleanup memory and restore linked list
					if (currentMsg->prev == NULL)
						msgList = currentMsg->next;
					else
						currentMsg->prev->next = currentMsg->next;

					if (currentMsg->next != NULL)
						currentMsg->next->prev = currentMsg->prev;

					free(currentMsg->data);
					free(currentMsg);
				}
				break;
			}
		}
	}

	free(payload);
}

/******************************************************************************
 * Handle_ISOCommandedAddress
 *
 * Handle a received PGN 65240 ISO Commanded Address message if it is adressed
 * to us
 *
 * Parameters:
 * 	- *data			Pointer to the data structure
 *
 *****************************************************************************/
void Handle_ISOCommandedAddress(uint8_t *data) {
	if (*(uint64_t *)nmea2kNetwork.nameData == *(uint64_t *)data) {
		nmea2kNetwork.senderId = data[8];
		nmea2kNetwork.nameData[7] &= ~(1 << 7);		// Reset arbitrary addres bit
		nmea2kNetwork.linkState = LINK_STATE_IDLE;
	}
}

/******************************************************************************
 * Compare_NameWeight
 *
 * Helper function to compare our ISO NAME values against a contender
 *
 * Parameters:
 * 	- *data		Pointer to a CAN RxData[8] NAME structure
 *
 * Returns:
 * 	- True if we win, False if we loose
 *
 *****************************************************************************/
int Compare_NameWeight(uint8_t *data) {
	return (*(uint64_t *)nmea2kNetwork.nameData <= *(uint64_t *)data);
}

/******************************************************************************
 * Set_Relays
 *
 * Set the relays according to the NMEA2000 Switch Bank Control message
 *
 * Parameters:
 * 	- *data		Pointer to a CAN RxData[8] structure
 *
 *****************************************************************************/
void Set_Relays(uint8_t *data)
{
	int offset, index;

	// Count for the number of relays on the controller
	for (int i = 0; i < RELAY_CHANNELS; i++) {
		// Determine index and offset for the parameters in the data structure
		offset = 2 * (i % 4);
		index = 1 + (i / 4);

		switch ((data[index] >> offset) & 0x03) {
			case 0:
				// Parameter is 00, release the relay
				relayStatus &= ~(1 << i);
				HAL_GPIO_WritePin(relays[i].gpio, relays[i].pin, GPIO_PIN_RESET);
				break;
			case 1:
				// Parameter is 01, set the relay
				relayStatus |= (1 << i);
				HAL_GPIO_WritePin(relays[i].gpio, relays[i].pin, GPIO_PIN_SET);
				break;
			// Parameter 11 = no change, 10 is reserved. No action is needed
		}
	}
}

/******************************************************************************
 * Add_Timer
 *
 * Add a timer to the 10mS time loop. When the timer expires it calls the
 * *callback function with the *payload as parameter
 *
 * Parameters:
 *  - type			Timer type TIMER_ONESHOT or TIMER_RELOAD
 *  - timeout		Timeout in steps of 10mS
 *  - *callback		Function to call a (*callback)(void*) function on timeout
 *  - *payload		Payload to the function
 *
 * Returns:
 *  - TIMER_T*		Pointer to the created TIMER_T structure or NULL on failure
 *
 *****************************************************************************/
struct TIMER_T * Add_Timer(int type, int timeout, void(*callback)(), void * payload) {
	struct TIMER_T *current, *new;

	// Start atomic function
	__disable_irq();

	// Claim the memory for the timer
	if ((new = malloc(sizeof(struct TIMER_T))) == NULL)
		return NULL;

	// Populate the timer structure
	new->type = type;
	new->timeout = timeout;
	new->countdown = timeout;
	new->callback = callback;
	new->payload = payload;

	// Add the timer to the queue
	if (timers == NULL) {	// Empty queue
		new->prev = NULL;
		new->next = NULL;
		timers = new;
	}
	else {
		current = timers;
		while (current->next != NULL)	// Find the end of the queue
			current = current->next;
		// Add the new timer
		new->prev = current;
		new->next = NULL;
		current->next = new;
	}
	__enable_irq();
	// End atomic function

	return new;;
}

/******************************************************************************
 * Delete_Timer
 *
 * Deletes a timer from the 10mS timer loop
 *
 * Parameters:
 *  - *timer		Pointer to the TIMER_T structure to delete
 *
 *****************************************************************************/
void Delete_Timer(struct TIMER_T *timer) {
	// Start atomic function
	__disable_irq();

	// Remove the timer from the queue
	if (timer->prev == NULL)
		timers = timer->next;
	else
		timer->prev->next = timer->next;

	if (timer->next != NULL)
		timer->next->prev = timer->prev;

	// Release the memory from the timer
	free(timer);
	__enable_irq();
	// End atomic function
}

/******************************************************************************
 * Add_Job
 *
 * Adds a job to the job queue to execute outside an interrupt. The job queue is
 * polled by the main loop.
 *
 * Parameters:
 *  - *callback		Function to call the (*callback)(void*) job function
 *  - *payload		Payload to the function
 *
 * Returns:
 *  - JOB_QUEUE_T*	Pointer to the job in the queue or NULL on failure
 *
 *****************************************************************************/
struct JOB_QUEUE_T * Add_Job(void(*callback)(), void * payload) {
	struct JOB_QUEUE_T *current, *new;

	// Start atomic function
	__disable_irq();

	// Claim memory for the job
	if ((new = malloc(sizeof(struct JOB_QUEUE_T))) == NULL)
		return NULL;

	// Populate the job structure
	new->callback = callback;
	new->payload = payload;
	new->next = NULL;

	// Add the job to the queue
	if (jobs == NULL)		// Empty queue, job is the first
		jobs = new;
	else {
		current = jobs;
		while (current->next != NULL)	// Find the end of the queue
			current = current->next;
		current->next = new;			// Add the job at the end
	}
	__enable_irq();
	// End atomic function

	return new;
}

/******************************************************************************
 * Delete_Job
 *
 * Delete a job from the job queue
 *
 * Parameters:
 *  - *job			Pointer to the job to delete
 *
 *****************************************************************************/
void Delete_Job(struct JOB_QUEUE_T *job) {
	struct JOB_QUEUE_T *current;

	// Start atomic function
	__disable_irq();
	if (jobs == NULL) {}	// Do nothing
	else if (jobs == job)	// Found the right job
		jobs = job->next;	// Remove the job from the queue
	else {
		current = jobs;
		while (current->next != job)	// Scan the queue for the job
			current = current->next;
		current->next = job->next;		// Remove the job from the queue
	}

	free(job);				// Release the memory from the job
	__enable_irq();
	// End atomic function
}

/******************************************************************************
 * Get_RelayBoardId
 *
 * Read the switches on GPIOB[15:12] for the lower nibble of the relay board ID
 *
 * Returns
 * 	- relayId		Relay board id, combination of RELAY_BOARD_ID and the
 * 					switches
 *
 *****************************************************************************/
int Get_RelayBoardId(void) {
	// Initialize the return value with the high nibble of RELAY_BOARD_ID
	int id = RELAY_BOARD_ID & 0xF0;

	// Read the ID switches
	if (HAL_GPIO_ReadPin(id0_GPIO_Port, id0_Pin) == GPIO_PIN_SET)
		id |= (1 << 0);
	if (HAL_GPIO_ReadPin(id1_GPIO_Port, id1_Pin) == GPIO_PIN_SET)
		id |= (1 << 1);
	if (HAL_GPIO_ReadPin(id2_GPIO_Port, id2_Pin) == GPIO_PIN_SET)
		id |= (1 << 2);
	if (HAL_GPIO_ReadPin(id3_GPIO_Port, id3_Pin) == GPIO_PIN_SET)
		id |= (1 << 3);

	return id;
}

/* USER CODE END 4 */

void Error_Handler()
{
  volatile int a = 1, b = 7;
  /* USER CODE BEGIN Error_Handler_Debug */
  /* User can add his own implementation to report the HAL error return state */

  __disable_irq();
  while (1)
  {
	  HAL_GPIO_TogglePin(LED_GPIO_Port, LED_Pin);
	  for (int i = 0; i < 2000000; i++) {
		  a = a * b;
	  }
  }
  /* USER CODE END Error_Handler_Debug */
}
